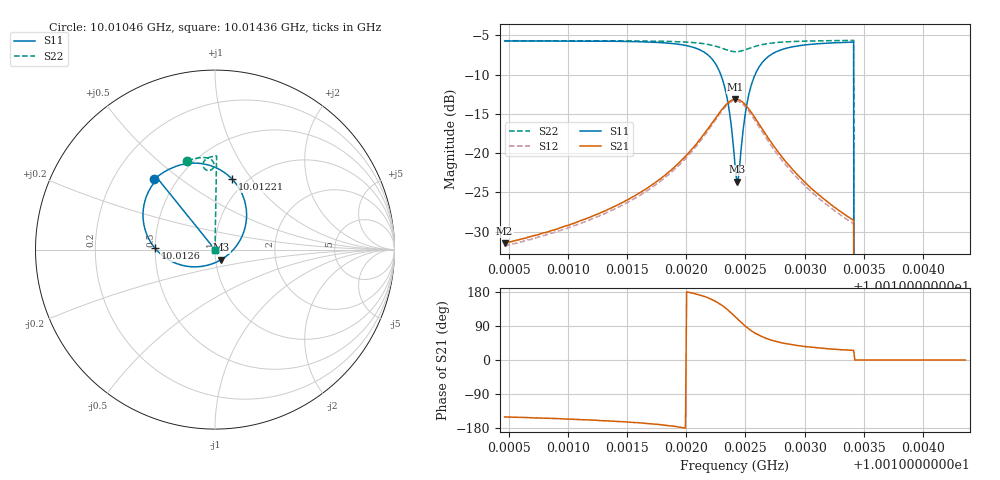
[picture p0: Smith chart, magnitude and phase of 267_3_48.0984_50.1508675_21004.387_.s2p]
#  HZ  S  RI  R  50.00
! Rohde & Schwarz Vector Network Analyzer
! Rohde-Schwarz,ZNB20-2Port,1311601062101988,3.16
! Created: UTC 12/23/2023, 4:01:23 AM
! freq[Hz]  re:S11  im:S11  re:S21  im:S21  re:S12  im:S12  re:S22  im:S22
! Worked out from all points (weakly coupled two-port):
!   401 points, 10.01046 GHz to 10.01436 GHz, reference 50 ohm
!   highest |S21| = -13.13 dB at 10.01241 GHz (marker M1); lowest = -31.5 dB at 10.01046 GHz (marker M2)
!   lowest |S11| = -23.6 dB at 10.01243 GHz (marker M3), VSWR 1.14, Z = 53.2 - j5.99 ohm
!   |S11| at or under -10 dB: 10.01229 GHz to 10.01258 GHz (290.7 kHz wide, 0.0029 % of centre); 10.01341 GHz to end of sweep
!   |S22| runs from - to -5.7 dB; largest |S21 - S12| = 0.01
!   S11 on the Smith chart (normalised r, x): 10.01046 GHz: 0.38, +0.40; 10.01221 GHz: 0.86, +0.81; 10.0126 GHz: 0.50, +0.01; 10.01436 GHz: 1.00, +0.00
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1.0010463e10  -0.339 0.391  -0.0231 -0.0132  -0.0215 -0.0139  -0.1534 0.4963
1.0011116e10  -0.2822 0.4331  -0.0347 -0.0143  -0.0325 -0.0154  -0.1095 0.5077
1.0011496e10  -0.23 0.4595  -0.0482 -0.0142  -0.0456 -0.016  -0.0811 0.5122
1.0011769e10  -0.1672 0.4775  -0.0668 -0.0116  -0.0635 -0.0145  -0.058 0.5128
1.0012051e10  -0.0384 0.4718  -0.1067 0.00628  -0.1035 0.000304  -0.0279 0.5054
1.0012207e10  0.094 0.3941  -0.1433 0.0494  -0.1421 0.0404  -0.0095 0.4878
1.0012275e10  0.1553 0.2995  -0.1542 0.0909  -0.1554 0.0808  -0.00539 0.4726
1.0012333e10  0.1754 0.1729  -0.1477 0.1388  -0.151 0.1298  -0.00921 0.4561
1.0012372e10  0.1494 0.0711  -0.1265 0.1737  -0.1309 0.1658  -0.0182 0.4463
1.0012411e10  0.0814 -0.0213  -0.0915 0.2007  -0.0973 0.1931  -0.0311 0.4411
1.0012431e10  0.0345 -0.056  -0.0708 0.2086  -0.0762 0.2015  -0.0384 0.4407
1.001245e10  -0.0175 -0.0799  -0.0498 0.2119  -0.054 0.2055  -0.0453 0.4421
1.0012489e10  -0.1276 -0.0958  -0.00739 0.2068  -0.0124 0.2005  -0.057 0.4494
1.0012518e10  -0.2016 -0.082  0.0193 0.1946  0.013 0.1887  -0.0626 0.4568
1.0012596e10  -0.3342 0.0078  0.0595 0.1493  0.0525 0.1452  -0.0664 0.4773
1.0012684e10  -0.3903 0.1142  0.0714 0.1056  0.0643 0.1036  -0.0598 0.4938
1.0012801e10  -0.4002 0.2155  0.0672 0.0688  0.0611 0.0683  -0.0469 0.5064
1.0013064e10  -0.3664 0.3307  0.0492 0.0326  0.0453 0.0333  -0.0203 0.5172
1.0013395e10  -0.3221 0.3935  0.0345 0.0163  0.032 0.0173  0.00734 0.5211
1.0013444e10  0 0  0 0  0 0  0 0
1.0013716e10  0 0  0 0  0 0  0 0
1.0014359e10  0 0  0 0  0 0  0 0
